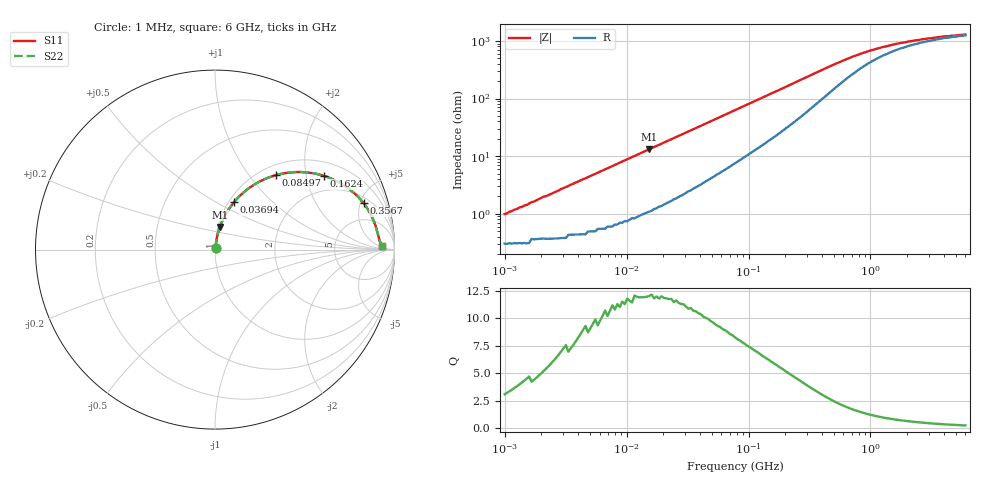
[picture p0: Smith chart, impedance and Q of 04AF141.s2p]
# MHz S MA R 50
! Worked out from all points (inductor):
!   189 points, 1 MHz to 6 GHz, reference 50 ohm
!   read as one part in series: L = 149 nH near 1 MHz
!   highest Q = 12 at 15.34 MHz (marker M1), where L = 136 nH
!   S11 on the Smith chart (normalised r, x): 1 MHz: 1.01, +0.02; 36.94 MHz: 1.06, +0.61; 84.97 MHz: 1.17, +1.36; 162.4 MHz: 1.43, +2.53; 356.7 MHz: 2.58, +5.39; 6 GHz: 26, +7
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1  0.00992 71.1  0.997 -0.5  0.997 -0.5  0.00992 71.1
1.32  0.013 74.5  0.997 -0.7  0.997 -0.7  0.013 74.5
1.517  0.014 75.9  0.997 -0.8  0.997 -0.8  0.014 75.9
1.664  0.016 76.7  0.996 -0.9  0.996 -0.9  0.016 76.7
1.742  0.016 77.1  0.996 -0.9  0.996 -0.9  0.016 77.1
2.097  0.02 78.4  0.996 -1.1  0.996 -1.1  0.02 78.4
4.396  0.04 81.1  0.995 -2.2  0.995 -2.2  0.04 81.1
15.335  0.129 77.8  0.981 -7.4  0.981 -7.4  0.129 77.8
18.454  0.154 76.4  0.975 -8.8  0.975 -8.8  0.154 76.4
36.943  0.286 68.1  0.932 -16.5  0.932 -16.5  0.286 68.1
53.494  0.387 61.4  0.882 -22.6  0.882 -22.6  0.387 61.4
77.46  0.504 53.1  0.805 -30.0  0.805 -30.0  0.504 53.1
84.971  0.535 50.8  0.781 -32.0  0.781 -32.0  0.535 50.8
117.475  0.64 42.5  0.683 -39.3  0.683 -39.3  0.64 42.5
162.413  0.732 34.2  0.57 -46.2  0.57 -46.2  0.732 34.2
235.176  0.812 25.4  0.438 -52.6  0.438 -52.6  0.812 25.4
340.538  0.863 18.1  0.322 -56.1  0.322 -56.1  0.863 18.1
356.666  0.868 17.3  0.309 -56.3  0.309 -56.3  0.868 17.3
820.351  0.907 7.3  0.153 -49.0  0.153 -49.0  0.907 7.3
1429.415  0.915 4.2  0.11 -37.4  0.11 -37.4  0.915 4.2
2608.635  0.922 2.3  0.087 -25.6  0.087 -25.6  0.922 2.3
6000  0.93 1.1  0.072 -13.9  0.072 -13.9  0.93 1.1
